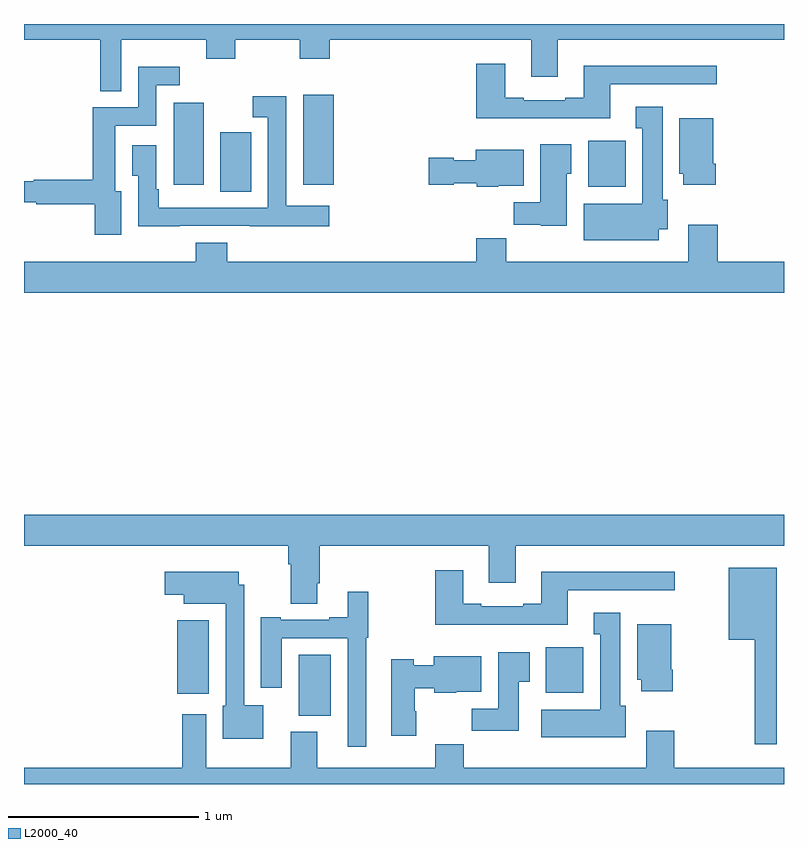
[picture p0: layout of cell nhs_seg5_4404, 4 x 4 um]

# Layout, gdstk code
import gdstk
lib = gdstk.Library(unit=1e-6, precision=1e-09)
def R(c, l, rs):  # rectangles x0, y0, x1, y1
    for r in rs: c.add(gdstk.rectangle(r[:2], r[2:], *l))
def P(c, l, *ps):  # polygons
    for p in ps: c.add(gdstk.Polygon(p, *l))
L2000_40 = (2000, 40)

nhs_seg5_4404 = lib.new_cell('nhs_seg5_4404')
R(nhs_seg5_4404, L2000_40, [(370.445,897.158,370.615,897.478), (369.806,897.275,369.973,897.661), (371.747,897.278,371.944,897.52), (370.034,899.917,370.195,900.228), (371.969,899.942,372.166,900.184), (369.788,899.952,369.946,900.385), (370.469,899.952,370.63,900.427)])
P(nhs_seg5_4404, L2000_40, [(369,900.716),(369.4,900.716),(369.4,900.445),(369.511,900.445),(369.511,900.716),(369.958,900.716),(369.958,900.617),(370.113,900.617),(370.113,900.716),(370.45,900.716),(370.45,900.617),(370.61,900.617),(370.61,900.716),(371.669,900.716),(371.669,900.522),(371.809,900.522),(371.809,900.716),(373,900.716),(373,900.799),(369,900.799)],
  [(372.085,900.483),(372.646,900.483),(372.646,900.58),(371.945,900.58),(371.945,900.412),(371.849,900.412),(371.849,900.399),(371.629,900.399),(371.629,900.412),(371.533,900.412),(371.533,900.589),(371.381,900.589),(371.381,900.302),(372.085,900.302)],
  [(369.511,899.919),(369.481,899.919),(369.481,900.264),(369.696,900.264),(369.696,900.477),(369.82,900.477),(369.82,900.574),(369.6,900.574),(369.6,900.36),(369.363,900.36),(369.363,899.978),(369.05,899.978),(369.05,899.971),(369,899.971),(369,899.862),(369.064,899.862),(369.064,899.85),(369.373,899.85),(369.373,899.691),(369.511,899.691)],
  [(369.821,899.736),(370.187,899.736),(370.187,899.735),(370.606,899.735),(370.606,899.842),(370.38,899.842),(370.38,900.418),(370.203,900.418),(370.203,900.309),(370.284,900.309),(370.284,899.832),(369.709,899.832),(369.709,899.929),(369.696,899.929),(369.696,900.16),(369.569,900.16),(369.569,900.001),(369.6,900.001),(369.6,899.735),(369.821,899.735)],
  [(372.34,899.72),(372.388,899.72),(372.388,899.874),(372.361,899.874),(372.361,900.364),(372.221,900.364),(372.221,900.251),(372.254,900.251),(372.254,899.854),(371.945,899.854),(371.945,899.66),(372.34,899.66)],
  [(372.641,900.064),(372.628,900.064),(372.628,900.304),(372.449,900.304),(372.449,900.012),(372.47,900.012),(372.47,899.952),(372.641,899.952)],
  [(371.857,900.012),(371.881,900.012),(371.881,900.166),(371.717,900.166),(371.717,899.86),(371.578,899.86),(371.578,899.742),(371.721,899.742),(371.721,899.738),(371.857,899.738)],
  [(371.496,899.948),(371.629,899.948),(371.629,900.136),(371.378,900.136),(371.378,900.082),(371.262,900.082),(371.262,900.095),(371.13,900.095),(371.13,899.953),(371.262,899.953),(371.262,899.96),(371.382,899.96),(371.382,899.942),(371.496,899.942)],
  [(373,899.548),(372.65,899.548),(372.65,899.743),(372.497,899.743),(372.497,899.548),(371.537,899.548),(371.537,899.672),(371.381,899.672),(371.381,899.548),(370.07,899.548),(370.07,899.647),(369.905,899.647),(369.905,899.548),(369,899.548),(369,899.384),(373,899.384)],
  [(370.543,897.856),(370.556,897.856),(370.556,898.052),(371.447,898.052),(371.447,897.858),(371.587,897.858),(371.587,898.052),(373,898.052),(373,898.216),(369,898.216),(369,898.052),(370.391,898.052),(370.391,897.956),(370.403,897.956),(370.403,897.748),(370.543,897.748)],
  [(372.961,897.937),(372.71,897.937),(372.71,897.557),(372.847,897.557),(372.847,897.009),(372.961,897.009)],
  [(371.863,897.819),(372.424,897.819),(372.424,897.916),(371.723,897.916),(371.723,897.748),(371.627,897.748),(371.627,897.735),(371.407,897.735),(371.407,897.748),(371.311,897.748),(371.311,897.925),(371.164,897.925),(371.164,897.638),(371.863,897.638)],
  [(370.258,897.214),(370.158,897.214),(370.158,897.847),(370.129,897.847),(370.129,897.916),(369.741,897.916),(369.741,897.794),(369.842,897.794),(369.842,897.749),(370.062,897.749),(370.062,897.21),(370.046,897.21),(370.046,897.038),(370.258,897.038)],
  [(370.801,897.57),(370.813,897.57),(370.813,897.811),(370.703,897.811),(370.703,897.676),(370.607,897.676),(370.607,897.663),(370.351,897.663),(370.351,897.676),(370.247,897.676),(370.247,897.306),(370.357,897.306),(370.357,897.567),(370.704,897.567),(370.704,896.994),(370.801,896.994)],
  [(372.166,897.21),(372.139,897.21),(372.139,897.7),(371.999,897.7),(371.999,897.587),(372.032,897.587),(372.032,897.19),(371.723,897.19),(371.723,897.044),(372.166,897.044)],
  [(372.414,897.4),(372.406,897.4),(372.406,897.64),(372.227,897.64),(372.227,897.348),(372.248,897.348),(372.248,897.288),(372.414,897.288)],
  [(371.605,897.337),(371.662,897.337),(371.662,897.493),(371.495,897.493),(371.495,897.196),(371.356,897.196),(371.356,897.078),(371.605,897.078)],
  [(371.064,897.182),(371.056,897.182),(371.056,897.302),(371.16,897.302),(371.16,897.278),(371.274,897.278),(371.274,897.284),(371.407,897.284),(371.407,897.472),(371.156,897.472),(371.156,897.424),(371.052,897.424),(371.052,897.455),(370.934,897.455),(370.934,897.054),(371.064,897.054)],
  [(373,896.884),(372.423,896.884),(372.423,897.079),(372.275,897.079),(372.275,896.884),(371.315,896.884),(371.315,897.008),(371.164,897.008),(371.164,896.884),(370.543,896.884),(370.543,897.073),(370.403,897.073),(370.403,896.884),(369.958,896.884),(369.958,897.166),(369.833,897.166),(369.833,896.884),(369,896.884),(369,896.799),(373,896.799)])

lib.write_gds('nhs_seg5_4404.gds')
